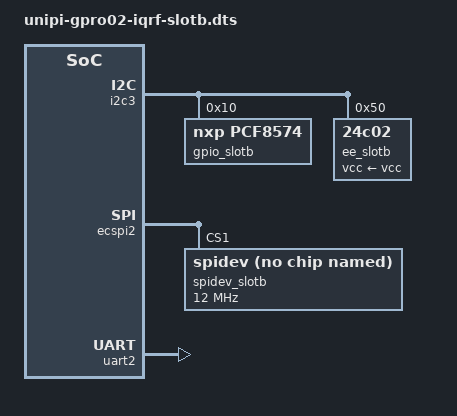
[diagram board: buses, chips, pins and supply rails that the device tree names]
// SPDX-License-Identifier: (GPL-2.0+ OR MIT)
/*
 * Device Tree fragment for Unipi Gate PRO IQRF board, v0.3
 *
 * Copyright 2021 Faster CZ, spol. s r.o.
 *
 * IQRF card is in slot A.
 */

/dts-v1/;
/plugin/;

/ {
	fragment@0 {
		target = <&i2c3>;
		__overlay__ {
       		#address-cells = <1>;
	    	#size-cells = <0>;

	        gpio_slotb: pca9501@10 {
        		compatible = "nxp,pcf8574";
		        gpio-controller;
        		#gpio-cells = <2>;
		        reg = <0x10>;
        	    gpio-line-names = "SLOTB_IQRF_POWER",
		        	  "SLOTB_IQRF_PGM",
        			  "SLOTB_IQRF_BUS",
		        	  "","","","","";
	        };

            ee_slotb@50 {
                compatible = "24c02";
                reg = <0x50>;
                vcc-supply = <&vcc>;
            };
		};
	};

	fragment@1 {
		target = <&ecspi2>;
		__overlay__ {
	        status = "okay";
       		#address-cells = <1>;
	    	#size-cells = <0>;

			spidev_slotb: spi@1 {
                compatible = "nanopi,spidev";
                reg = <1>;
                status = "okay";
                spi-max-frequency = <12000000>;
            };
		};
	};

	fragment@2 {
		target = <&uart2>;
		__overlay__ {
        	status = "okay";
		};
	};
};

